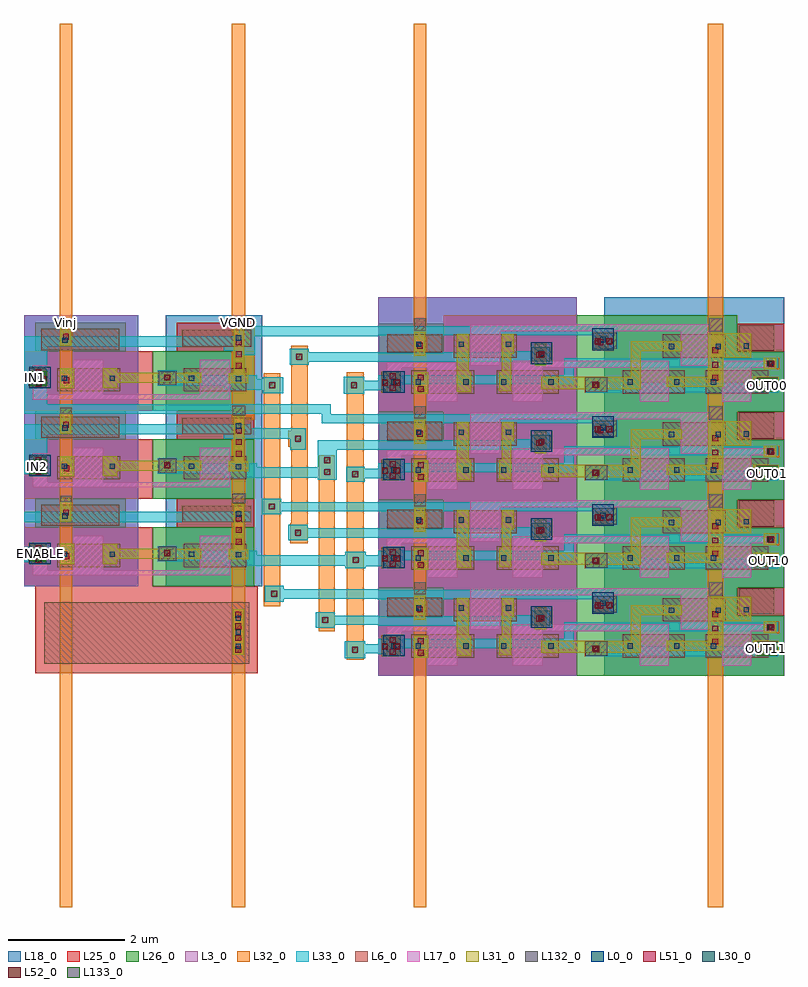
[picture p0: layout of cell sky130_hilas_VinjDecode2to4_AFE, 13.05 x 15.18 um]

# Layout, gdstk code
import gdstk
lib = gdstk.Library(unit=1e-6, precision=1e-09)
def R(c, l, rs):  # rectangles x0, y0, x1, y1
    for r in rs: c.add(gdstk.rectangle(r[:2], r[2:], *l))
def A(c, l, x, y, w, h, nx, ny, dx, dy):  # array of equal rectangles
    R(c, l, [(x+i*dx, y+j*dy, x+i*dx+w, y+j*dy+h) for i in range(nx) for j in range(ny)])
L0_0 = (0, 0)
L3_0 = (3, 0)
L6_0 = (6, 0)
L17_0 = (17, 0)
L18_0 = (18, 0)
L25_0 = (25, 0)
L26_0 = (26, 0)
L30_0 = (30, 0)
L31_0 = (31, 0)
L32_0 = (32, 0)
L33_0 = (33, 0)
L51_0 = (51, 0)
L52_0 = (52, 0)
L132_0 = (132, 0)
L133_0 = (133, 0)

m2_m1_cdns_668300576293 = lib.new_cell('M2_M1_CDNS_668300576293')
R(m2_m1_cdns_668300576293, L31_0, [(-0.09,-0.29,0.09,0.29)])
R(m2_m1_cdns_668300576293, L32_0, [(-0.09,-0.29,0.09,0.29)])
A(m2_m1_cdns_668300576293, L51_0, -0.05, -0.25, 0.1, 0.1, 1, 3, 0, 0.2)

sky130_hilas_vinjinv2 = lib.new_cell('sky130_hilas_VinjInv2')
R(sky130_hilas_vinjinv2, L0_0, [(0.09,0.38,0.46,0.75)])
R(sky130_hilas_vinjinv2, L3_0, [(0,0,1.96,1.64)])
R(sky130_hilas_vinjinv2, L6_0, [(0.57,0.33,1.65,0.73), (2.74,0.33,3.82,0.73), (0.3,1.04,1.635,1.405), (2.715,1.1,3.9,1.385)])
R(sky130_hilas_vinjinv2, L17_0, [(0.15,0.19,3.54,0.28), (0.84,0.19,1.36,0.87), (3.02,0.19,3.54,0.87), (0.15,0.28,0.41,0.78)])
R(sky130_hilas_vinjinv2, L18_0, [(0,0,1.96,1.64), (2.43,0,4.09,1.64)])
R(sky130_hilas_vinjinv2, L25_0, [(0,0,2.215,1.02), (2.625,1.02,3.95,1.51)])
R(sky130_hilas_vinjinv2, L26_0, [(2.215,0,3.95,1.02), (0.195,1.02,1.745,1.51)])
R(sky130_hilas_vinjinv2, L30_0, [(3.64,0.5,3.73,0.59), (0.23,0.51,0.32,0.6), (0.65,0.51,0.74,0.6), (1.47,0.51,1.56,0.6), (2.83,0.51,2.92,0.6), (0.66,1.165,0.75,1.255), (3.64,1.2,3.73,1.29)])
R(sky130_hilas_vinjinv2, L31_0, [(0.17,0.38,0.36,0.46), (0.61,0.38,0.86,0.4), (1.35,0.39,1.6,0.48), (0.61,0.4,0.86,0.67), (0.17,0.46,0.36,0.63), (3.52,0.47,3.85,0.64), (1.35,0.48,3.04,0.65), (0.17,0.63,0.36,0.74), (3.6,0.64,3.78,1.42), (1.35,0.65,1.6,0.73), (0.61,0.67,0.86,0.73), (0.62,1.115,0.81,1.215), (0.62,1.215,0.81,1.385), (0.62,1.385,0.81,1.525)])
R(sky130_hilas_vinjinv2, L32_0, [(0.61,0,0.83,0.09), (3.57,0,3.8,0.09), (0.61,0.09,0.83,0.36), (3.57,0.09,3.8,1.6), (0.61,0.36,0.86,0.67), (0.08,0.39,0.39,0.74), (2.3,0.43,2.62,0.69), (0.61,0.67,0.83,1.175), (0.61,1.175,0.84,1.435), (0.61,1.435,0.83,1.57), (0.61,1.57,0.83,1.64), (3.57,1.6,3.8,1.64)])
R(sky130_hilas_vinjinv2, L33_0, [(0.07,0.42,0.4,0.58), (2.3,0.43,4,0.61), (0.07,0.58,0.4,0.68), (2.3,0.61,2.62,0.69), (0,1.1,3.9,1.28)])
R(sky130_hilas_vinjinv2, L51_0, [(0.2,0.41,0.3,0.51), (0.68,0.47,0.78,0.57), (2.41,0.52,2.51,0.62), (0.2,0.61,0.3,0.71), (0.67,1.22,0.77,1.32)])
R(sky130_hilas_vinjinv2, L52_0, [(0.08,0.5,0.18,0.6), (0.28,0.5,0.38,0.6), (2.41,0.52,2.51,0.62)])
R(sky130_hilas_vinjinv2, L132_0, [(0.09,0.395,0.38,0.73), (2.31,0.445,2.61,0.68), (3.58,1.43,3.795,1.59), (0.625,1.455,0.82,1.555)])
sky130_hilas_vinjinv2.add(gdstk.Reference(m2_m1_cdns_668300576293, (3.69,0.97)))
sky130_hilas_vinjinv2.add(gdstk.Label('Vinj', (0.72,1.51), layer=132, texttype=0))
sky130_hilas_vinjinv2.add(gdstk.Label('IN', (0.24,0.58), layer=132, texttype=0))
sky130_hilas_vinjinv2.add(gdstk.Label('OUT', (2.46,0.57), layer=132, texttype=0))
sky130_hilas_vinjinv2.add(gdstk.Label('VGND', (3.68,1.52), layer=132, texttype=0))

sky130_hilas_vinjnor3 = lib.new_cell('sky130_hilas_VinjNOR3')
R(sky130_hilas_vinjnor3, L0_0, [(0.09,0.33,0.46,0.7), (2.62,0.82,2.99,1.19), (3.68,1.06,4.05,1.43)])
R(sky130_hilas_vinjnor3, L3_0, [(0,0,3.41,1.66)])
R(sky130_hilas_vinjnor3, L6_0, [(0.57,0.31,1.65,0.71), (2.04,0.31,3.1,0.71), (4.2,0.31,5.27,0.71), (5.63,0.31,6.7,0.71), (1.3,0.93,2.38,1.33), (4.89,0.93,5.97,1.33), (0.16,1.02,1.105,1.335), (6.2,1.05,6.805,1.49)])
R(sky130_hilas_vinjnor3, L17_0, [(0.84,0.17,1.36,0.76), (2.31,0.17,2.83,0.76), (4.49,0.17,4.99,0.76), (5.91,0.17,6.41,0.85), (0.15,0.35,0.41,0.76), (0.15,0.76,1.36,0.85), (2.31,0.76,4.99,0.81), (5.91,0.76,6.82,0.88), (1.58,0.79,2.1,1.38), (5.2,0.79,5.7,1.38), (2.31,0.81,4.99,0.83), (2.31,0.83,4.99,0.88), (2.62,0.88,2.97,1.15), (3.69,1.09,4.04,1.38), (1.58,1.38,5.7,1.42), (1.58,1.42,5.7,1.47), (1.58,1.47,5.7,1.5)])
R(sky130_hilas_vinjnor3, L18_0, [(0,0,3.41,1.66), (3.88,0,6.97,1.66)])
R(sky130_hilas_vinjnor3, L25_0, [(0,0,3.41,1), (1.125,0.805,3.41,1.66), (6.17,1.03,6.97,1.51)])
R(sky130_hilas_vinjnor3, L26_0, [(3.41,0,6.97,1.03), (3.41,0.795,6.17,1.66), (0,1,1.125,1.51)])
R(sky130_hilas_vinjnor3, L30_0, [(0.225,0.465,0.315,0.555), (0.645,0.465,0.735,0.555), (1.465,0.465,1.555,0.555), (2.115,0.465,2.205,0.555), (2.925,0.465,3.015,0.555), (4.285,0.465,4.375,0.555), (5.085,0.465,5.175,0.555), (5.715,0.465,5.805,0.555), (6.505,0.465,6.595,0.555), (6.69,0.78,6.78,0.87), (2.755,0.955,2.845,1.045), (4.995,1.075,5.085,1.165), (5.795,1.075,5.885,1.165), (6.275,1.085,6.365,1.175), (0.655,1.115,0.745,1.205), (1.385,1.115,1.475,1.205), (2.195,1.115,2.285,1.205), (3.815,1.195,3.905,1.285)])
R(sky130_hilas_vinjnor3, L31_0, [(0.61,0.31,0.86,0.62), (0.15,0.33,0.375,0.69), (1.35,0.34,1.6,0.43), (2.08,0.35,2.29,0.43), (2.8,0.39,4.51,0.6), (3.65,0.39,3.82,0.43), (6.445,0.39,6.88,0.6), (1.35,0.43,1.6,0.68), (2.08,0.43,2.29,0.68), (4.96,0.43,5.93,0.6), (4.34,0.6,4.51,1.04), (5.67,0.6,5.93,1.04), (0.61,0.62,0.86,0.68), (1.35,0.68,1.56,1.25), (2.12,0.68,2.29,1), (6.625,0.73,6.835,0.93), (2.69,0.8,2.89,0.9), (2.69,0.9,2.89,1.07), (5.67,0.93,6.41,1.35), (6.23,0.93,6.41,1.04), (0.62,0.96,0.81,1.06), (2.12,1,2.33,1.25), (4.34,1.04,5.21,1.21), (0.62,1.06,0.81,1.23), (2.69,1.07,2.89,1.17), (3.74,1.11,3.95,1.31), (5.67,1.22,5.93,1.29), (6.23,1.22,6.41,1.35), (0.62,1.23,0.81,1.37), (1.35,1.25,1.56,1.33), (2.12,1.25,2.33,1.33)])
R(sky130_hilas_vinjnor3, L32_0, [(0.61,0.11,0.83,0.31), (5.66,0.11,5.93,1.63), (0.61,0.31,0.86,0.62), (0.055,0.33,0.39,0.69), (3.55,0.33,3.94,0.6), (6.48,0.34,6.85,0.6), (0.61,0.62,0.83,1.02), (6.625,0.73,6.885,0.93), (2.63,0.86,2.96,1.12), (0.61,1.02,0.84,1.28), (3.68,1.08,4.11,1.37), (0.61,1.28,0.83,1.62)])
R(sky130_hilas_vinjnor3, L33_0, [(3.57,0.33,6.87,0.5), (0,0.37,0.4,0.53), (0.4,0.47,3.36,0.63), (3.57,0.5,4.6,0.51), (6.48,0.5,6.87,0.6), (3.57,0.51,3.94,0.59), (0,0.53,0.4,0.63), (3.2,0.63,3.36,0.92), (3.36,0.76,6.875,0.92), (0,0.86,2.96,1.02), (2.36,1.02,2.96,1.04), (2.63,1.04,2.96,1.12), (3.69,1.08,4.11,1.31), (-0.01,1.31,4.11,1.47)])
R(sky130_hilas_vinjnor3, L51_0, [(0.68,0.34,0.78,0.44), (0.2,0.36,0.3,0.46), (3.68,0.415,3.78,0.515), (6.515,0.45,6.615,0.55), (6.715,0.45,6.815,0.55), (5.74,0.535,5.84,0.635), (0.68,0.54,0.78,0.64), (0.2,0.56,0.3,0.66), (5.74,0.76,5.84,0.86), (6.675,0.78,6.775,0.88), (2.72,0.925,2.82,1.025), (5.74,1.005,5.84,1.105), (0.67,1.085,0.77,1.185), (3.77,1.145,3.87,1.245)])
R(sky130_hilas_vinjnor3, L52_0, [(3.695,0.41,3.795,0.51), (6.505,0.445,6.605,0.545), (6.705,0.445,6.805,0.545), (0.07,0.45,0.17,0.55), (0.27,0.45,0.37,0.55), (6.705,0.775,6.805,0.875), (2.755,0.94,2.855,1.04), (3.72,1.16,3.82,1.26), (3.92,1.16,4.02,1.26)])
R(sky130_hilas_vinjnor3, L132_0, [(0.06,0.335,0.385,0.685), (3.555,0.34,3.935,0.59), (2.64,0.865,2.955,1.11), (3.69,1.085,4.1,1.36), (5.675,1.37,5.92,1.605), (0.62,1.395,0.82,1.605)])
sky130_hilas_vinjnor3.add(gdstk.Label('VGND', (5.785,1.51), layer=132, texttype=0))
sky130_hilas_vinjnor3.add(gdstk.Label('Vinj', (0.715,1.505), layer=132, texttype=0))
sky130_hilas_vinjnor3.add(gdstk.Label('OUT', (3.735,0.48), layer=132, texttype=0))
sky130_hilas_vinjnor3.add(gdstk.Label('IN2', (2.795,1.035), layer=132, texttype=0))
sky130_hilas_vinjnor3.add(gdstk.Label('IN1', (3.89,1.295), layer=132, texttype=0))
sky130_hilas_vinjnor3.add(gdstk.Label('NENABLE', (0.215,0.605), layer=132, texttype=0))

m2_m1_cdns_668300576290 = lib.new_cell('M2_M1_CDNS_668300576290')
R(m2_m1_cdns_668300576290, L31_0, [(-0.09,-0.39,0.09,0.39)])
R(m2_m1_cdns_668300576290, L32_0, [(-0.09,-0.39,0.09,0.39)])
A(m2_m1_cdns_668300576290, L51_0, -0.05, -0.35, 0.1, 0.1, 1, 4, 0, 0.2)

m1_od_cdns_668300576291 = lib.new_cell('M1_OD_CDNS_668300576291')
R(m1_od_cdns_668300576291, L6_0, [(-0.075,-0.35,0.075,0.35)])
A(m1_od_cdns_668300576291, L30_0, -0.045, -0.285, 0.09, 0.09, 1, 3, 0, 0.24)
R(m1_od_cdns_668300576291, L31_0, [(-0.09,-0.39,0.09,0.39)])

m3_m2_cdns_668300576292 = lib.new_cell('M3_M2_CDNS_668300576292')
R(m3_m2_cdns_668300576292, L32_0, [(-0.09,-0.19,0.09,0.19)])
R(m3_m2_cdns_668300576292, L33_0, [(-0.09,-0.19,0.09,0.19)])
R(m3_m2_cdns_668300576292, L52_0, [(-0.05,-0.15,0.05,-0.05), (-0.05,0.05,0.05,0.15)])

sky130_hilas_vinjdecode2 = lib.new_cell('sky130_hilas_VinjDecode2to4_AFE')
R(sky130_hilas_vinjdecode2, L3_0, [(6.69,4.11,6.91,4.16), (6.69,10.06,6.91,10.12), (6.08,10.17,9.49,10.48)])
R(sky130_hilas_vinjdecode2, L6_0, [(0.35,4.18,3.865,5.24)])
R(sky130_hilas_vinjdecode2, L18_0, [(6.08,10.17,9.49,10.48), (9.96,10.17,13.05,10.48)])
R(sky130_hilas_vinjdecode2, L25_0, [(0.195,4.02,4.01,5.51)])
R(sky130_hilas_vinjdecode2, L32_0, [(0.61,0,0.83,5.545), (3.57,0,3.8,4.365), (6.69,0,6.91,3.98), (11.74,0,12.01,3.98), (6.69,3.98,6.91,4.09), (11.74,3.98,12.01,4.09), (6.69,4.11,6.91,4.16), (5.54,4.25,5.83,5.79), (3.57,4.315,3.8,5.665), (5.06,4.74,5.34,4.77), (5.06,4.77,5.34,5.1), (5.06,5.1,5.34,7.31), (4.12,5.17,4.4,5.22), (4.12,5.22,4.4,5.55), (4.12,5.55,4.4,6.72), (5.54,5.79,5.83,6.14), (5.54,6.14,5.83,8.79), (4.57,6.25,4.87,6.27), (4.57,6.27,4.87,6.6), (4.59,6.6,4.87,7.91), (4.12,6.72,4.4,7.05), (4.12,7.05,4.4,9.17), (0.61,7.065,0.83,8.685), (5.06,7.31,5.34,7.64), (5.06,7.64,5.34,7.765), (4.54,7.91,4.87,8.18), (4.59,8.18,4.87,9.64), (3.63,8.37,3.96,8.4), (3.63,8.4,3.96,8.73), (3.63,8.73,3.96,9.51), (5.54,8.79,5.83,9.14), (5.54,9.14,5.83,9.19), (3.63,9.51,3.96,9.78), (3.63,9.78,3.96,10.07), (0.61,10.05,0.83,10.13), (6.69,10.06,6.91,10.12), (0.61,10.13,0.83,15.175), (3.57,10.13,3.8,15.175), (6.69,10.13,6.91,10.48), (11.74,10.14,12.01,10.48), (6.69,10.48,6.91,15.175), (11.74,10.48,12.01,15.175)])
A(sky130_hilas_vinjdecode2, L33_0, 12.82, 5.82, 0.13, 0.17, 1, 3, 0, 1.51)
R(sky130_hilas_vinjdecode2, L33_0, [(5.51,4.28,5.86,4.36), (12.82,4.32,12.95,4.49), (5.51,4.36,6.08,4.52), (5.51,4.52,5.86,4.57), (5.01,4.8,5.34,4.85), (5.01,4.85,6.08,5.01), (5.01,5.01,5.34,5.07), (4.13,5.25,4.46,5.3), (4.13,5.3,6.08,5.46), (4.13,5.46,4.46,5.52), (5.52,5.82,5.87,5.86), (5.52,5.86,6.08,5.87), (3.43,5.87,6.08,6.05), (0,5.93,0.07,5.97), (0,5.97,0.11,6.15), (3.43,6.02,6.01,6.05), (5.52,6.05,5.87,6.11), (0,6.15,0.07,6.19), (4.54,6.3,4.87,6.35), (4.54,6.35,6.08,6.51), (4.54,6.51,4.87,6.57), (4.09,6.75,4.42,6.8), (4.09,6.8,6.08,6.96), (4.09,6.96,4.42,7.02), (5.53,7.31,5.85,7.37), (5.04,7.34,5.37,7.38), (5.53,7.37,6.08,7.53), (3.43,7.38,5.37,7.56), (0,7.44,0.4,8.3), (5.53,7.53,5.85,7.57), (5.04,7.56,5.37,7.61), (5.04,7.61,5.37,7.86), (4.57,7.86,4.84,7.88), (5.04,7.86,6.08,8.02), (4.57,7.88,4.84,8.02), (4.57,8.02,4.84,8.05), (3.43,8.05,4.84,8.21), (3.43,8.21,4.84,8.23), (5.11,8.31,6.07,8.47), (5.11,8.47,5.27,8.48), (0,8.48,5.27,8.64), (0,8.64,0.4,9.63), (5.49,8.82,5.84,8.88), (4.1,8.83,4.45,8.88), (4.1,8.88,4.45,8.89), (5.49,8.88,6.08,9.04), (3.43,8.89,4.45,9.07), (5.49,9.04,5.84,9.11), (4.1,9.07,4.45,9.1), (4.56,9.32,4.89,9.37), (4.56,9.37,6.08,9.53), (3.66,9.48,3.96,9.56), (4.56,9.53,4.89,9.59), (3.43,9.56,3.96,9.74), (3.69,9.74,3.96,9.81), (3.685,9.81,6.075,9.97), (3.69,9.81,3.96,9.82), (3.685,9.97,6.08,9.98)])
R(sky130_hilas_vinjdecode2, L52_0, [(5.635,4.375,5.735,4.475), (5.125,4.885,5.225,4.985), (4.245,5.335,4.345,5.435), (5.645,5.915,5.745,6.015), (4.655,6.385,4.755,6.485), (4.205,6.835,4.305,6.935), (5.64,7.39,5.74,7.49), (5.155,7.425,5.255,7.525), (4.655,7.995,4.755,8.095), (4.215,8.915,4.315,9.015), (5.615,8.915,5.715,9.015), (4.675,9.405,4.775,9.505)])
R(sky130_hilas_vinjdecode2, L132_0, [(3.58,9.96,3.795,10.12), (0.625,9.985,0.82,10.085)])
R(sky130_hilas_vinjdecode2, L133_0, [(12.59,4.325,12.93,4.56), (12.585,5.855,12.94,6.065), (0.085,5.94,0.38,6.17), (12.585,7.35,12.93,7.58), (0.09,7.45,0.395,7.685), (12.58,8.85,12.935,9.095), (0.08,8.96,0.395,9.205)])
sky130_hilas_vinjdecode2.add(gdstk.Reference(sky130_hilas_vinjinv2, (0,8.53)))
sky130_hilas_vinjdecode2.add(gdstk.Reference(sky130_hilas_vinjinv2, (0,7.02)))
sky130_hilas_vinjdecode2.add(gdstk.Reference(sky130_hilas_vinjinv2, (0,5.51)))
sky130_hilas_vinjdecode2.add(gdstk.Reference(sky130_hilas_vinjnor3, (6.08,7)))
sky130_hilas_vinjdecode2.add(gdstk.Reference(sky130_hilas_vinjnor3, (6.08,5.49)))
sky130_hilas_vinjdecode2.add(gdstk.Reference(sky130_hilas_vinjnor3, (6.08,8.51)))
sky130_hilas_vinjdecode2.add(gdstk.Reference(sky130_hilas_vinjnor3, (6.08,3.98)))
sky130_hilas_vinjdecode2.add(gdstk.Reference(m2_m1_cdns_668300576290, (3.68,4.725)))
sky130_hilas_vinjdecode2.add(gdstk.Reference(m1_od_cdns_668300576291, (3.68,4.725)))
sky130_hilas_vinjdecode2.add(gdstk.Reference(m3_m2_cdns_668300576292, (5.205,7.575)))
sky130_hilas_vinjdecode2.add(gdstk.Label('Vinj', (0.72,10.04), layer=132, texttype=0))
sky130_hilas_vinjdecode2.add(gdstk.Label('VGND', (3.68,10.05), layer=132, texttype=0))
sky130_hilas_vinjdecode2.add(gdstk.Label('IN2', (0.235,7.575), layer=133, texttype=0))
sky130_hilas_vinjdecode2.add(gdstk.Label('ENABLE', (0.28,6.08), layer=133, texttype=0))
sky130_hilas_vinjdecode2.add(gdstk.Label('IN1', (0.195,9.105), layer=133, texttype=0))
sky130_hilas_vinjdecode2.add(gdstk.Label('OUT00', (12.775,8.965), layer=133, texttype=0))
sky130_hilas_vinjdecode2.add(gdstk.Label('OUT01', (12.77,7.455), layer=133, texttype=0))
sky130_hilas_vinjdecode2.add(gdstk.Label('OUT10', (12.795,5.96), layer=133, texttype=0))
sky130_hilas_vinjdecode2.add(gdstk.Label('OUT11', (12.75,4.445), layer=133, texttype=0))

lib.write_gds('sky130_hilas_VinjDecode2to4_AFE.gds')
